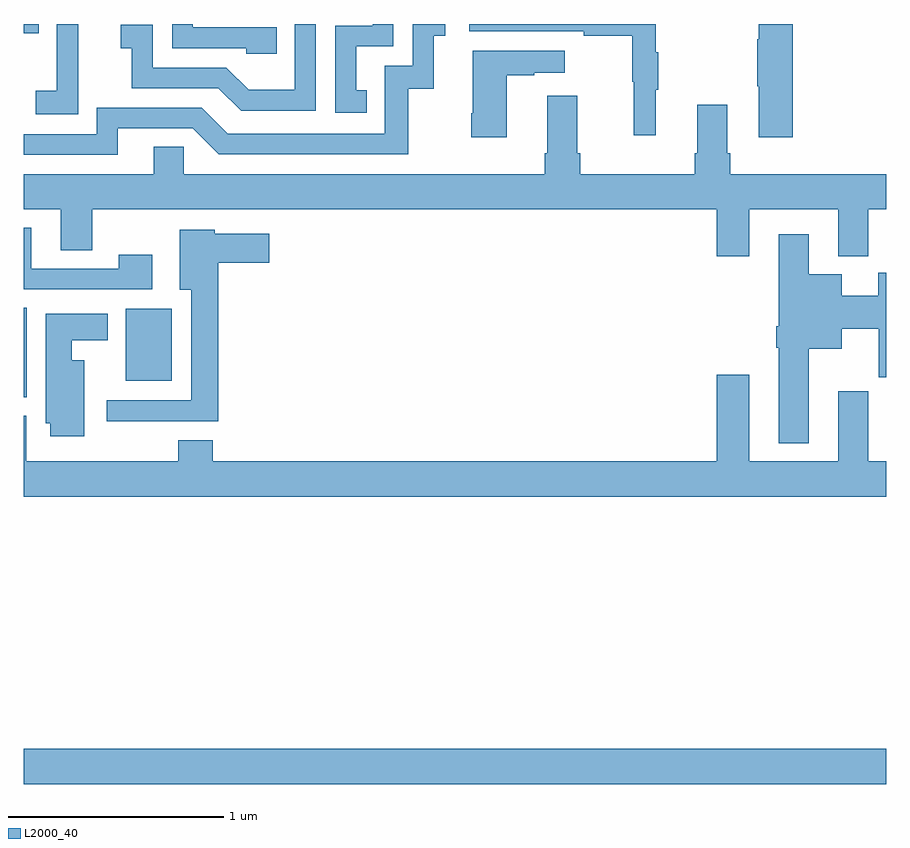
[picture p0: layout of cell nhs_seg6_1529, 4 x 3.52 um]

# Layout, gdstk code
import gdstk
lib = gdstk.Library(unit=1e-6, precision=1e-09)
def R(c, l, rs):  # rectangles x0, y0, x1, y1
    for r in rs: c.add(gdstk.rectangle(r[:2], r[2:], *l))
def P(c, l, *ps):  # polygons
    for p in ps: c.add(gdstk.Polygon(p, *l))
L2000_40 = (2000, 40)

nhs_seg6_1529 = lib.new_cell('nhs_seg6_1529')
R(nhs_seg6_1529, L2000_40, [(203,973.976,207,974.14), (203,975.769,203.014,976.184), (203.474,975.845,203.686,976.18), (203,977.458,203.069,977.5)])
P(nhs_seg6_1529, L2000_40, [(204.354,977.5),(204.258,977.5),(204.258,977.194),(204.044,977.194),(203.94,977.298),(203.598,977.298),(203.598,977.497),(203.451,977.497),(203.451,977.387),(203.5,977.387),(203.5,977.202),(203.903,977.202),(204.008,977.097),(204.354,977.097)],
  [(203.437,977.016),(203.784,977.016),(203.904,976.896),(204.784,976.896),(204.784,977.199),(204.902,977.199),(204.902,977.445),(204.955,977.445),(204.955,977.5),(204.804,977.5),(204.804,977.307),(204.675,977.307),(204.675,976.992),(203.946,976.992),(203.826,977.112),(203.34,977.112),(203.34,976.989),(203,976.989),(203,976.893),(203.437,976.893)],
  [(205.931,977.195),(205.942,977.195),(205.942,977.369),(205.931,977.369),(205.931,977.5),(205.065,977.5),(205.065,977.466),(205.597,977.466),(205.597,977.446),(205.821,977.446),(205.821,977.232),(205.828,977.232),(205.828,976.983),(205.931,976.983)],
  [(206.567,977.5),(206.408,977.5),(206.408,977.429),(206.401,977.429),(206.401,977.212),(206.408,977.212),(206.408,976.974),(206.567,976.974)],
  [(203.253,977.287),(203.252,977.287),(203.252,977.5),(203.154,977.5),(203.154,977.42),(203.153,977.42),(203.153,977.191),(203.055,977.191),(203.055,977.081),(203.253,977.081)],
  [(204.173,977.484),(203.784,977.484),(203.784,977.5),(203.688,977.5),(203.688,977.388),(204.033,977.388),(204.033,977.361),(204.173,977.361)],
  [(204.59,977.193),(204.541,977.193),(204.541,977.397),(204.714,977.397),(204.714,977.5),(204.618,977.5),(204.618,977.493),(204.444,977.493),(204.444,977.088),(204.59,977.088)],
  [(205.24,977.263),(205.367,977.263),(205.367,977.273),(205.51,977.273),(205.51,977.377),(205.082,977.377),(205.082,977.086),(205.075,977.086),(205.075,976.974),(205.24,976.974)],
  [(206.365,976.64),(206.777,976.64),(206.777,976.424),(206.917,976.424),(206.917,976.64),(207,976.64),(207,976.804),(206.276,976.804),(206.276,976.9),(206.263,976.9),(206.263,977.125),(206.123,977.125),(206.123,976.9),(206.111,976.9),(206.111,976.804),(205.58,976.804),(205.58,976.9),(205.567,976.9),(205.567,977.167),(205.427,977.167),(205.427,976.9),(205.415,976.9),(205.415,976.804),(203.742,976.804),(203.742,976.931),(203.603,976.931),(203.603,976.804),(203,976.804),(203,976.64),(203.171,976.64),(203.171,976.45),(203.319,976.45),(203.319,976.64),(206.213,976.64),(206.213,976.422),(206.365,976.422)],
  [(203.596,976.429),(203.44,976.429),(203.44,976.365),(203.035,976.365),(203.035,976.555),(203,976.555),(203,976.269),(203.596,976.269)],
  [(203.903,976.394),(204.139,976.394),(204.139,976.528),(203.886,976.528),(203.886,976.546),(203.723,976.546),(203.723,976.268),(203.777,976.268),(203.777,975.756),(203.385,975.756),(203.385,975.659),(203.903,975.659)],
  [(206.641,975.995),(206.794,975.995),(206.794,976.088),(206.964,976.088),(206.964,975.861),(207,975.861),(207,976.346),(206.963,976.346),(206.963,976.24),(206.794,976.24),(206.794,976.339),(206.641,976.339),(206.641,976.525),(206.501,976.525),(206.501,976.099),(206.489,976.099),(206.489,975.999),(206.501,975.999),(206.501,975.557),(206.641,975.557)],
  [(203.281,975.94),(203.224,975.94),(203.224,976.034),(203.389,976.034),(203.389,976.156),(203.102,976.156),(203.102,975.648),(203.123,975.648),(203.123,975.588),(203.281,975.588)],
  [(207,975.472),(206.917,975.472),(206.917,975.796),(206.777,975.796),(206.777,975.472),(206.365,975.472),(206.365,975.874),(206.213,975.874),(206.213,975.472),(203.876,975.472),(203.876,975.571),(203.716,975.571),(203.716,975.472),(203.011,975.472),(203.011,975.684),(203,975.684),(203,975.308),(207,975.308)])

lib.write_gds('nhs_seg6_1529.gds')
